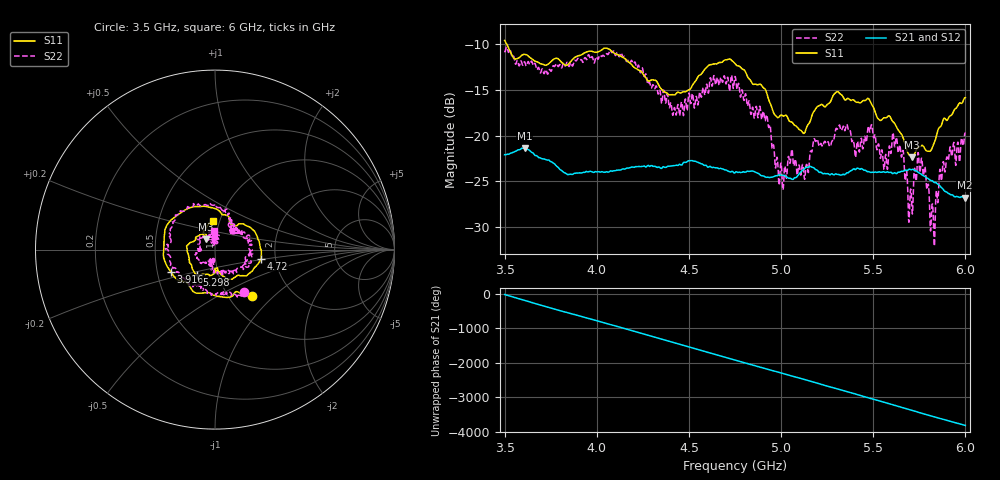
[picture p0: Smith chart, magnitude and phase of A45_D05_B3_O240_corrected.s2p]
! Created with skrf 1.9.0 (http://scikit-rf.org).
# Hz S RI R 50.0
!freq ReS11 ImS11 ReS21 ImS21 ReS12 ImS12 ReS22 ImS22
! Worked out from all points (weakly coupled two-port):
!   1601 points, 3.5 GHz to 6 GHz, reference 50 ohm
!   highest |S21| = -21.38 dB at 3.609 GHz (marker M1); lowest = -26.8 dB at 5.995 GHz (marker M2)
!   lowest |S11| = -22.4 dB at 5.711 GHz (marker M3), VSWR 1.16, Z = 45.1 + j5.29 ohm
!   |S11| at or under -10 dB: 3.511 GHz to end of sweep
!   |S22| runs from -32.1 to -10.3 dB; largest |S21 - S12| = 0.0012
!   S11 on the Smith chart (normalised r, x): 3.5 GHz: 1.27, -0.74; 3.916 GHz: 0.59, -0.16; 4.72 GHz: 1.68, -0.18; 5.298 GHz: 0.79, -0.23; 6 GHz: 0.93, +0.31
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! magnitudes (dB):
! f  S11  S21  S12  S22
! 3.5 GHz  -9.6  -22.1  -22.1  -10.8
! 3.609 GHz  -11.1  -21.4  -21.3  -11.9
! 3.916 GHz  -11.2  -24.1  -24.0  -11.7
! 3.917 GHz  -11.2  -24.1  -24.1  -11.7
! 4.139 GHz  -11.4  -23.7  -23.6  -11.3
! 4.334 GHz  -14.4  -23.4  -23.4  -15.5
! 4.422 GHz  -15.6  -23.3  -23.2  -16.9
! 4.72 GHz  -11.6  -24.0  -23.9  -15.2
! 4.75 GHz  -12.1  -24.1  -24.0  -13.5
! 4.93 GHz  -15.9  -24.6  -24.5  -18.8
! 5 GHz  -17.8  -24.4  -24.3  -23.0
! 5.167 GHz  -17.8  -23.5  -23.4  -21.8
! 5.298 GHz  -15.3  -24.2  -24.1  -19.2
! 5.483 GHz  -16.3  -24.0  -23.9  -19.6
! 5.584 GHz  -17.9  -24.0  -24.0  -21.7
! 5.617 GHz  -18.7  -24.1  -24.0  -21.2
! 5.711 GHz  -22.4  -23.7  -23.6  -28.3
! 5.753 GHz  -21.2  -24.1  -24.1  -24.1
! 5.822 GHz  -21.3  -25.0  -24.9  -27.5
! 5.87 GHz  -18.9  -25.7  -25.6  -25.0
! 5.995 GHz  -15.9  -26.8  -26.7  -20.0
! 6 GHz  -15.9  -26.8  -26.7  -19.7
